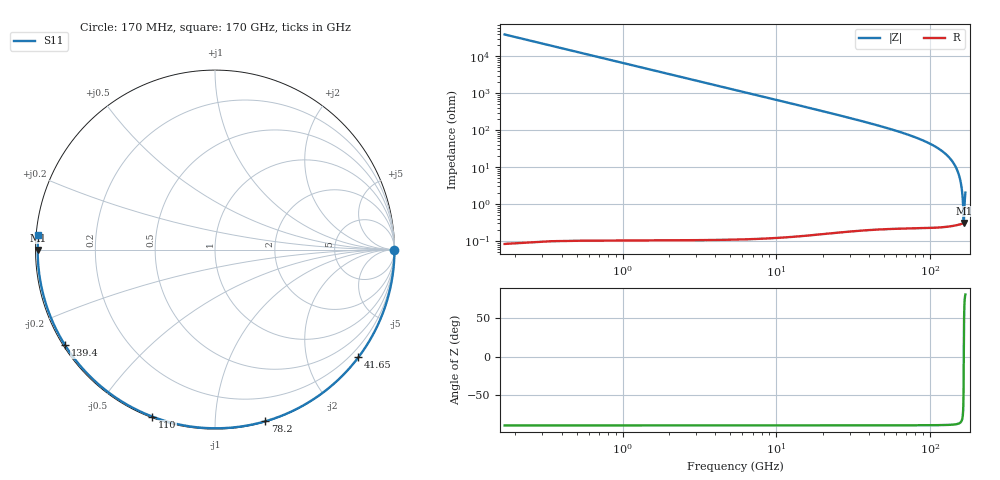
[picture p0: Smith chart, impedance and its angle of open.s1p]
! Touchstone file exported from HFSS 2024.2.0
!  File:  C:/Users/nathan/Desktop/Ansys_HFSS/OnWaferCal-Standards-2p5umM9.aedt
!  Generated:  11:37:54 PM May 21, 2025
!  Design:  1_open
!  Project:  OnWaferCal-Standards-2p5umM9
!  Setup:  sim_dc170
!  Solution:  broad
! Variables:
!  IMD10A_h = 0.06um
!  IMD10B_h = 0.6um
!  IMD10C_h = 0.17um
!  IMD10D_h = 0.712um
!  IMD11A_h = 0.06um
!  IMD11B_h = 0.53um
!  IMD11C_h = 0.2um
!  IMD11D_h = 3.2um
!  IMD1A_h = 0.02um
!  IMD1B_h = 0.045um
!  IMD2t7A_h = 0.025um
!  IMD2t7B_h = 0.065um
!  IMD2t7C_h = 0.09um
!  Passivation1_h = 0.07um
!  Passivation2_h = 0.7um
!  Passivation3_h = 0.4um
!  Passivation4_h = 0.5um
!  landingpad_g_cut = 50um
!  landingpad_m8width_half = 0.2um
!  landingpad_m9transient_length = (55-1.71) um
!  landingpad_transient_length = 55um
!  landingpad_transition_width_half = 0.26um
!  landingpad_width_half = 1.25um
!  p1P9M1A1U_x = 0um
!  p1P9M1A1U_y = 0um
!  w1P9M1A1U_x = 255um
!  w1P9M1A1U_y = 335um
# GHz S MA R 50.000000
! Terminal data exported
! Port[1] = 1
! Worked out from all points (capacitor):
!   1000 points, 170 MHz to 170 GHz, reference 50 ohm
!   read as one part to ground: C = 24 fF near 1.02 GHz
!   lowest |Z| = 305 mohm at 165.9 GHz (marker M1)
!   series resonance near 166 GHz, so ESL is about 38 pH
!   S11 on the Smith chart (normalised r, x): 170 MHz: open; 41.65 GHz: 0.00, -3.00; 78.2 GHz: 0.00, -1.34; 110 GHz: 0.00, -0.69; 139.4 GHz: 0.01, -0.29; 170 GHz: 0.01, +0.04
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0.17  1 -0.1
! Gamma 0 0
! Port Impedance 50 0
10.88  1 -9.4
21.42  0.9998 -18.6
31.62  0.9996 -27.7
41.65  0.9992 -36.9
42.67  0.9992 -37.9
53.21  0.9986 -47.9
63.92  0.9979 -58.6
71.23  0.9974 -66.2
78.2  0.9968 -73.6
85.17  0.9962 -81.4
90.61  0.9957 -87.5
96.05  0.9952 -93.8
101.32  0.9947 -100.1
106.42  0.9942 -106.3
109.99  0.9938 -110.6
114.24  0.9934 -115.9
118.66  0.9929 -121.4
123.08  0.9924 -126.9
127.67  0.9919 -132.7
133.62  0.9913 -140.3
139.4  0.9907 -147.6
144.16  0.9902 -153.5
148.92  0.9897 -159.5
153.17  0.9893 -164.7
157.42  0.9888 -169.8
165.92  0.988 -179.9
170  0.9876 175.4
